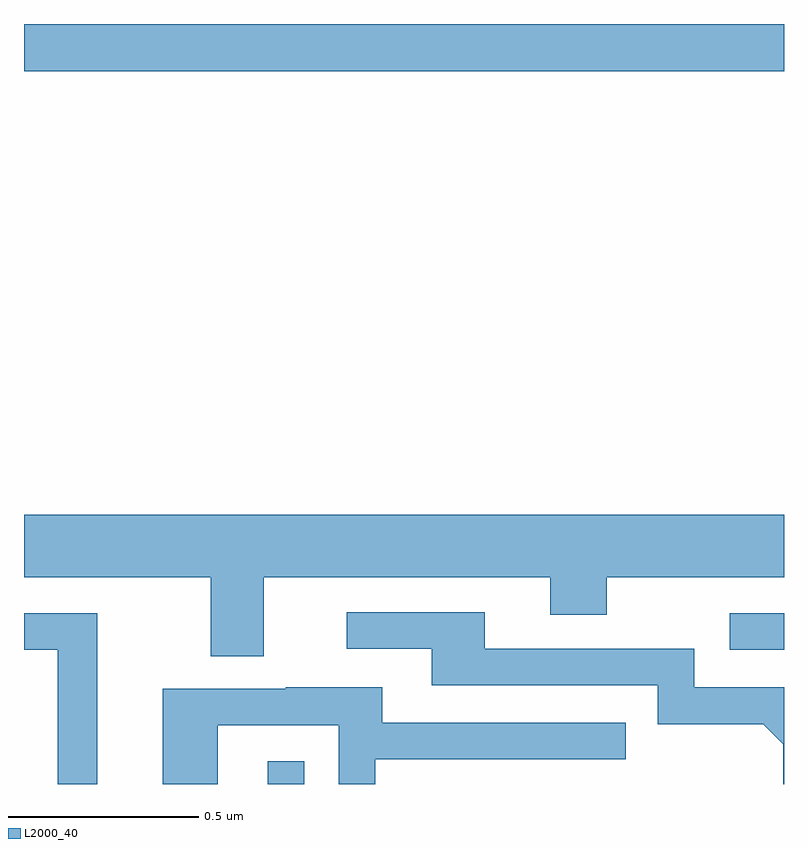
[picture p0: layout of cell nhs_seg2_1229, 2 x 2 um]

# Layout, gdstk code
import gdstk
lib = gdstk.Library(unit=1e-6, precision=1e-09)
def R(c, l, rs):  # rectangles x0, y0, x1, y1
    for r in rs: c.add(gdstk.rectangle(r[:2], r[2:], *l))
def P(c, l, *ps):  # polygons
    for p in ps: c.add(gdstk.Polygon(p, *l))
L2000_40 = (2000, 40)

nhs_seg2_1229 = lib.new_cell('nhs_seg2_1229')
R(nhs_seg2_1229, L2000_40, [(126.641,605.8,126.738,605.86), (127.857,606.153,128,606.249), (126,607.676,128,607.8)])
P(nhs_seg2_1229, L2000_40, [(126.631,606.344),(127.385,606.344),(127.385,606.245),(127.533,606.245),(127.533,606.344),(128,606.344),(128,606.508),(126,606.508),(126,606.344),(126.491,606.344),(126.491,606.136),(126.631,606.136)],
  [(128,606.054),(127.764,606.054),(127.764,606.156),(127.213,606.156),(127.213,606.252),(126.849,606.252),(126.849,606.156),(127.073,606.156),(127.073,606.06),(127.668,606.06),(127.668,605.957),(127.945,605.957),(127.998,605.904),(127.998,605.8),(128,605.8)],
  [(126.193,606.249),(126,606.249),(126,606.153),(126.089,606.153),(126.089,605.8),(126.193,605.8)],
  [(126.51,605.955),(126.828,605.955),(126.828,605.8),(126.924,605.8),(126.924,605.865),(127.583,605.865),(127.583,605.961),(126.943,605.961),(126.943,606.055),(126.689,606.055),(126.689,606.051),(126.365,606.051),(126.365,605.8),(126.51,605.8)])

lib.write_gds('nhs_seg2_1229.gds')
